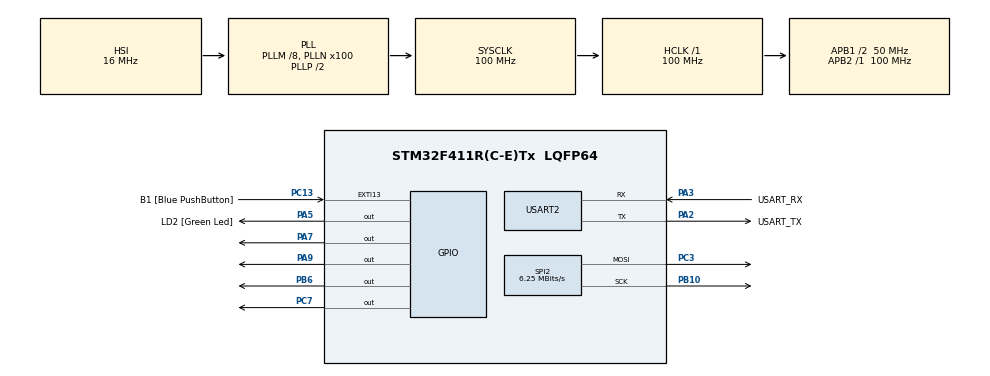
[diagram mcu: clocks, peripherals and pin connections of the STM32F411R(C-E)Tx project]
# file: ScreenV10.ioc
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Mcu.Family=STM32F4
Mcu.Name=STM32F411R(C-E)Tx
Mcu.Package=LQFP64
NVIC.PriorityGroup=NVIC_PRIORITYGROUP_0
NVIC.TIM1_TRG_COM_TIM11_IRQn=true\:0\:0\:false\:false\:true\:true\:true\:true
PA13.GPIO_Label=TMS
PA13.Mode=Serial_Wire
PA13.Signal=SYS_JTMS-SWDIO
PA14.GPIO_Label=TCK
PA14.Mode=Serial_Wire
PA14.Signal=SYS_JTCK-SWCLK
PA2.GPIO_Label=USART_TX
PA2.Mode=Asynchronous
PA2.Signal=USART2_TX
PA3.GPIO_Label=USART_RX
PA3.Mode=Asynchronous
PA3.Signal=USART2_RX
PA5.GPIO_Label=LD2 [Green Led]
PA5.Signal=GPIO_Output
PA7.Signal=GPIO_Output
PA9.Signal=GPIO_Output
PB10.Mode=TX_Only_Simplex_Unidirect_Master
PB10.Signal=SPI2_SCK
PB3.GPIO_Label=SWO
PB3.Signal=SYS_JTDO-SWO
PB6.Signal=GPIO_Output
PC13-ANTI_TAMP.GPIO_Label=B1 [Blue PushButton]
PC13-ANTI_TAMP.GPIO_ModeDefaultEXTI=GPIO_MODE_IT_FALLING
PC13-ANTI_TAMP.Signal=GPXTI13
PC14-OSC32_IN.Mode=LSE-External-Oscillator
PC14-OSC32_IN.Signal=RCC_OSC32_IN
PC15-OSC32_OUT.Mode=LSE-External-Oscillator
PC15-OSC32_OUT.Signal=RCC_OSC32_OUT
PC3.Mode=TX_Only_Simplex_Unidirect_Master
PC3.Signal=SPI2_MOSI
PC7.Signal=GPIO_Output
PH0\ -\ OSC_IN.Mode=HSE-External-Clock-Source
PH0\ -\ OSC_IN.Signal=RCC_OSC_IN
PH1\ -\ OSC_OUT.Mode=HSE-External-Clock-Source
PH1\ -\ OSC_OUT.Signal=RCC_OSC_OUT
ProjectManager.HeapSize=0x200
ProjectManager.StackSize=0x400
ProjectManager.TargetToolchain=STM32CubeIDE
RCC.48MHZClocksFreq_Value=50000000
RCC.AHBFreq_Value=100000000
RCC.APB1CLKDivider=RCC_HCLK_DIV2
RCC.APB1Freq_Value=50000000
RCC.APB1TimFreq_Value=100000000
RCC.APB2Freq_Value=100000000
RCC.APB2TimFreq_Value=100000000
RCC.CortexFreq_Value=100000000
RCC.FLatency-AdvancedSettings=FLASH_LATENCY_3
RCC.HCLKFreq_Value=100000000
RCC.HSE_VALUE=8000000
RCC.HSI_VALUE=16000000
RCC.PLLM=8
RCC.PLLN=100
RCC.SYSCLKFreq_VALUE=100000000
RCC.SYSCLKSource=RCC_SYSCLKSOURCE_PLLCLK
RCC.VCOOutputFreq_Value=200000000
SPI2.BaudRatePrescaler=SPI_BAUDRATEPRESCALER_8
SPI2.CalculateBaudRate=6.25 MBits/s
SPI2.Direction=SPI_DIRECTION_2LINES
SPI2.Mode=SPI_MODE_MASTER
SPI2.VirtualType=VM_MASTER
TIM11.Prescaler=99
USART2.VirtualMode=VM_ASYNC
VP_TIM11_VS_ClockSourceINT.Mode=Enable_Timer
board=NUCLEO-F411RE

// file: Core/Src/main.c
/* USER CODE BEGIN Header */
/**
 ******************************************************************************
 * @file           : main.c
 * @brief          : Main program body
 ******************************************************************************
 * @attention
 *
 * Copyright (c) 2022 STMicroelectronics.
 * All rights reserved.
 *
 * This software is licensed under terms that can be found in the LICENSE file
 * in the root directory of this software component.
 * If no LICENSE file comes with this software, it is provided AS-IS.
 *
 ******************************************************************************
 */
/* USER CODE END Header */
#include "main.h"

/* USER CODE BEGIN Includes */
#include "stm32f4xx_hal.h"
#include <string.h>
#include "st7735.h"
#include "fonts.h"
#include "testimg.h"
#include <stdio.h>
/* USER CODE END Includes */

SPI_HandleTypeDef hspi2;

TIM_HandleTypeDef htim11;

UART_HandleTypeDef huart2;

/* USER CODE BEGIN PV */
uint16_t LP1 = 4000;  //Life points for player 1
uint8_t T1 = 1;		//Player turns for player 1
char C_P1[] = "MP";
uint8_t Time_init = 110;
uint8_t Time = 1;
char C_ins[] = "Battle START !!!!";
uint64_t _micro = 0;
GPIO_PinState SwitchState[2];
char C_LP1[4] = "0000";
char C_T1[] = " ";
char C_Time[3] = " ";
uint8_t size = 0;
/* USER CODE END PV */

void SystemClock_Config(void);
static void MX_GPIO_Init(void);
static void MX_USART2_UART_Init(void);
static void MX_SPI2_Init(void);
static void MX_TIM11_Init(void);
/* USER CODE BEGIN PFP */
void GUI_P1();
void logic_demo();
void test_2LCD();
uint64_t micros();
/* USER CODE END PFP */

/* USER CODE BEGIN 0 */
void init() {
	ST7735_Init();
	ST7735_FillScreen(ST7735_BLACK);
	ST7735_FillScreen1(ST7735_BLACK);
	const char ready[] = "Ready!\r\n";
	HAL_UART_Transmit(&huart2, (uint8_t*)ready, sizeof(ready)-1, HAL_MAX_DELAY);

}

void loop() {
	// Check border
	ST7735_FillScreen(ST7735_BLACK);

	for(int x = 0; x < ST7735_WIDTH; x++) {
		ST7735_DrawPixel(x, 0, ST7735_RED);
		ST7735_DrawPixel(x, ST7735_HEIGHT-1, ST7735_RED);
	}

	for(int y = 0; y < ST7735_HEIGHT; y++) {
		ST7735_DrawPixel(0, y, ST7735_RED);
		ST7735_DrawPixel(ST7735_WIDTH-1, y, ST7735_RED);
	}

	HAL_Delay(3000);

	// Check fonts
	ST7735_FillScreen(ST7735_BLACK);
	ST7735_WriteString(0, 0, "Font_7x10, red on black, lorem ipsum dolor sit amet", Font_7x10, ST7735_RED, ST7735_BLACK);
	ST7735_WriteString(0, 3*10, "Font_11x18, green, lorem ipsum", Font_11x18, ST7735_GREEN, ST7735_BLACK);
	ST7735_WriteString(0, 3*10+3*18, "Font_16x26", Font_16x26, ST7735_BLUE, ST7735_BLACK);
	HAL_Delay(2000);

	// Check colors
	ST7735_FillScreen(ST7735_BLACK);
	ST7735_WriteString(0, 0, "BLACK", Font_11x18, ST7735_WHITE, ST7735_BLACK);
	HAL_Delay(500);

	ST7735_FillScreen(ST7735_BLUE);
	ST7735_WriteString(0, 0, "BLUE", Font_11x18, ST7735_BLACK, ST7735_BLUE);
	HAL_Delay(500);

	ST7735_FillScreen(ST7735_RED);
	ST7735_WriteString(0, 0, "RED", Font_11x18, ST7735_BLACK, ST7735_RED);
	HAL_Delay(500);

	ST7735_FillScreen(ST7735_GREEN);
	ST7735_WriteString(0, 0, "GREEN", Font_11x18, ST7735_BLACK, ST7735_GREEN);
	HAL_Delay(500);

	ST7735_FillScreen(ST7735_CYAN);
	ST7735_WriteString(0, 0, "CYAN", Font_11x18, ST7735_BLACK, ST7735_CYAN);
	HAL_Delay(500);

	ST7735_FillScreen(ST7735_MAGENTA);
	ST7735_WriteString(0, 0, "MAGENTA", Font_11x18, ST7735_BLACK, ST7735_MAGENTA);
	HAL_Delay(500);

	ST7735_FillScreen(ST7735_YELLOW);
	ST7735_WriteString(0, 0, "YELLOW", Font_11x18, ST7735_BLACK, ST7735_YELLOW);
	HAL_Delay(500);

	ST7735_FillScreen(ST7735_WHITE);
	ST7735_WriteString(0, 0, "WHITE", Font_11x18, ST7735_BLACK, ST7735_WHITE);
	HAL_Delay(500);

#ifdef ST7735_IS_128X128
	// Display test image 128x128
	ST7735_DrawImage(0, 0, ST7735_WIDTH, ST7735_HEIGHT, (uint16_t*)test_img_128x128);

	/*
    // Display test image 128x128 pixel by pixel
    for(int x = 0; x < ST7735_WIDTH; x++) {
        for(int y = 0; y < ST7735_HEIGHT; y++) {
            uint16_t color565 = test_img_128x128[y][x];
            // fix endiness
            color565 = ((color565 & 0xFF00) >> 8) | ((color565 & 0xFF) << 8);
            ST7735_DrawPixel(x, y, color565);
        }
    }
	 */
	HAL_Delay(15000);
#endif // ST7735_IS_128X128

}
/* USER CODE END 0 */

int main(void)
{

  /* MCU Configuration--------------------------------------------------------*/

  /* Reset of all peripherals, Initializes the Flash interface and the Systick. */
  HAL_Init();

  /* Configure the system clock */
  SystemClock_Config();

  /* Initialize all configured peripherals */
  MX_GPIO_Init();
  MX_USART2_UART_Init();
  MX_SPI2_Init();
  MX_TIM11_Init();
  /* USER CODE BEGIN 2 */
	init();
	HAL_TIM_Base_Start_IT(&htim11);
  /* USER CODE END 2 */

  /* Infinite loop */
	while (1)
	{

    /* USER CODE BEGIN 3 */
		//loop();
		logic_demo();
		GUI_P1();
		//test_2LCD();

	}
  /* USER CODE END 3 */
}

void SystemClock_Config(void)
{
  RCC_OscInitTypeDef RCC_OscInitStruct = {0};
  RCC_ClkInitTypeDef RCC_ClkInitStruct = {0};

  /** Configure the main internal regulator output voltage
  */
  __HAL_RCC_PWR_CLK_ENABLE();
  __HAL_PWR_VOLTAGESCALING_CONFIG(PWR_REGULATOR_VOLTAGE_SCALE1);

  /** Initializes the RCC Oscillators according to the specified parameters
  * in the RCC_OscInitTypeDef structure.
  */
  RCC_OscInitStruct.OscillatorType = RCC_OSCILLATORTYPE_HSI;
  RCC_OscInitStruct.HSIState = RCC_HSI_ON;
  RCC_OscInitStruct.HSICalibrationValue = RCC_HSICALIBRATION_DEFAULT;
  RCC_OscInitStruct.PLL.PLLState = RCC_PLL_ON;
  RCC_OscInitStruct.PLL.PLLSource = RCC_PLLSOURCE_HSI;
  RCC_OscInitStruct.PLL.PLLM = 8;
  RCC_OscInitStruct.PLL.PLLN = 100;
  RCC_OscInitStruct.PLL.PLLP = RCC_PLLP_DIV2;
  RCC_OscInitStruct.PLL.PLLQ = 4;
  if (HAL_RCC_OscConfig(&RCC_OscInitStruct) != HAL_OK)
  {
    Error_Handler();
  }

  /** Initializes the CPU, AHB and APB buses clocks
  */
  RCC_ClkInitStruct.ClockType = RCC_CLOCKTYPE_HCLK|RCC_CLOCKTYPE_SYSCLK
                              |RCC_CLOCKTYPE_PCLK1|RCC_CLOCKTYPE_PCLK2;
  RCC_ClkInitStruct.SYSCLKSource = RCC_SYSCLKSOURCE_PLLCLK;
  RCC_ClkInitStruct.AHBCLKDivider = RCC_SYSCLK_DIV1;
  RCC_ClkInitStruct.APB1CLKDivider = RCC_HCLK_DIV2;
  RCC_ClkInitStruct.APB2CLKDivider = RCC_HCLK_DIV1;

  if (HAL_RCC_ClockConfig(&RCC_ClkInitStruct, FLASH_LATENCY_3) != HAL_OK)
  {
    Error_Handler();
  }
}

static void MX_SPI2_Init(void)
{

  /* SPI2 parameter configuration*/
  hspi2.Instance = SPI2;
  hspi2.Init.Mode = SPI_MODE_MASTER;
  hspi2.Init.Direction = SPI_DIRECTION_2LINES;
  hspi2.Init.DataSize = SPI_DATASIZE_8BIT;
  hspi2.Init.CLKPolarity = SPI_POLARITY_LOW;
  hspi2.Init.CLKPhase = SPI_PHASE_1EDGE;
  hspi2.Init.NSS = SPI_NSS_SOFT;
  hspi2.Init.BaudRatePrescaler = SPI_BAUDRATEPRESCALER_8;
  hspi2.Init.FirstBit = SPI_FIRSTBIT_MSB;
  hspi2.Init.TIMode = SPI_TIMODE_DISABLE;
  hspi2.Init.CRCCalculation = SPI_CRCCALCULATION_DISABLE;
  hspi2.Init.CRCPolynomial = 10;
  if (HAL_SPI_Init(&hspi2) != HAL_OK)
  {
    Error_Handler();
  }

}

static void MX_TIM11_Init(void)
{

  htim11.Instance = TIM11;
  htim11.Init.Prescaler = 99;
  htim11.Init.CounterMode = TIM_COUNTERMODE_UP;
  htim11.Init.Period = 65535;
  htim11.Init.ClockDivision = TIM_CLOCKDIVISION_DIV1;
  htim11.Init.AutoReloadPreload = TIM_AUTORELOAD_PRELOAD_DISABLE;
  if (HAL_TIM_Base_Init(&htim11) != HAL_OK)
  {
    Error_Handler();
  }

}

static void MX_USART2_UART_Init(void)
{

  huart2.Instance = USART2;
  huart2.Init.BaudRate = 115200;
  huart2.Init.WordLength = UART_WORDLENGTH_8B;
  huart2.Init.StopBits = UART_STOPBITS_1;
  huart2.Init.Parity = UART_PARITY_NONE;
  huart2.Init.Mode = UART_MODE_TX_RX;
  huart2.Init.HwFlowCtl = UART_HWCONTROL_NONE;
  huart2.Init.OverSampling = UART_OVERSAMPLING_16;
  if (HAL_UART_Init(&huart2) != HAL_OK)
  {
    Error_Handler();
  }

}

static void MX_GPIO_Init(void)
{
  GPIO_InitTypeDef GPIO_InitStruct = {0};

  /* GPIO Ports Clock Enable */
  __HAL_RCC_GPIOC_CLK_ENABLE();
  __HAL_RCC_GPIOH_CLK_ENABLE();
  __HAL_RCC_GPIOA_CLK_ENABLE();
  __HAL_RCC_GPIOB_CLK_ENABLE();

  /*Configure GPIO pin Output Level */
  HAL_GPIO_WritePin(GPIOA, LD2_Pin|GPIO_PIN_7|GPIO_PIN_9, GPIO_PIN_RESET);

  /*Configure GPIO pin Output Level */
  HAL_GPIO_WritePin(GPIOC, GPIO_PIN_7, GPIO_PIN_RESET);

  /*Configure GPIO pin Output Level */
  HAL_GPIO_WritePin(GPIOB, GPIO_PIN_6, GPIO_PIN_RESET);

  /*Configure GPIO pin : B1_Pin */
  GPIO_InitStruct.Pin = B1_Pin;
  GPIO_InitStruct.Mode = GPIO_MODE_IT_FALLING;
  GPIO_InitStruct.Pull = GPIO_NOPULL;
  HAL_GPIO_Init(B1_GPIO_Port, &GPIO_InitStruct);

  /*Configure GPIO pins : LD2_Pin PA7 PA9 */
  GPIO_InitStruct.Pin = LD2_Pin|GPIO_PIN_7|GPIO_PIN_9;
  GPIO_InitStruct.Mode = GPIO_MODE_OUTPUT_PP;
  GPIO_InitStruct.Pull = GPIO_NOPULL;
  GPIO_InitStruct.Speed = GPIO_SPEED_FREQ_LOW;
  HAL_GPIO_Init(GPIOA, &GPIO_InitStruct);

  /*Configure GPIO pin : PC7 */
  GPIO_InitStruct.Pin = GPIO_PIN_7;
  GPIO_InitStruct.Mode = GPIO_MODE_OUTPUT_PP;
  GPIO_InitStruct.Pull = GPIO_NOPULL;
  GPIO_InitStruct.Speed = GPIO_SPEED_FREQ_LOW;
  HAL_GPIO_Init(GPIOC, &GPIO_InitStruct);

  /*Configure GPIO pin : PB6 */
  GPIO_InitStruct.Pin = GPIO_PIN_6;
  GPIO_InitStruct.Mode = GPIO_MODE_OUTPUT_PP;
  GPIO_InitStruct.Pull = GPIO_NOPULL;
  GPIO_InitStruct.Speed = GPIO_SPEED_FREQ_LOW;
  HAL_GPIO_Init(GPIOB, &GPIO_InitStruct);

}

/* USER CODE BEGIN 4 */
void GUI_P1(){  	// Show information in each players :
	// Player Number , Life points , Turns , Phase , Timer , instructions

	ST7735_WriteString(5, 5, "Player 1: ", Font_7x10, ST7735_WHITE, ST7735_BLACK);

	ST7735_WriteString(5, 20, "Life points: ", Font_7x10, ST7735_WHITE, ST7735_BLACK);
	sprintf(C_LP1, "%d", LP1);
	ST7735_WriteString( 90, 20, C_LP1, Font_7x10, ST7735_WHITE, ST7735_BLACK);

	ST7735_WriteString(5, 35, "Turns: ", Font_7x10, ST7735_WHITE, ST7735_BLACK);
	sprintf(C_T1, "%d", T1);
	ST7735_WriteString( 50, 35, C_T1, Font_7x10, ST7735_WHITE, ST7735_BLACK);

	ST7735_WriteString(60, 35, "|Phase: ", Font_7x10, ST7735_WHITE, ST7735_BLACK);
	ST7735_WriteString( 110, 35, C_P1, Font_7x10, ST7735_WHITE, ST7735_BLACK);

	ST7735_WriteString(0, 50, "Remaining time: ", Font_7x10, ST7735_WHITE, ST7735_BLACK);
	sprintf(C_Time, "%d", Time);
	for (int i = 0 ; i < 3 ; i++){
		if(C_Time[i] == 0){
			C_Time[i] = 'S';
			C_Time[i+1] = '.';
		}
	}
	ST7735_WriteString( 105, 50, C_Time, Font_7x10, ST7735_WHITE, ST7735_BLACK);

	ST7735_WriteString(0, 60, "__________________", Font_7x10, ST7735_WHITE, ST7735_BLACK);

	ST7735_WriteString(5, 90, C_ins, Font_7x10, ST7735_WHITE, ST7735_BLACK);

}
void test_2LCD(){
	ST7735_FillScreen(ST7735_BLACK);
	ST7735_FillScreen1(ST7735_BLACK);
//	ST7735_WriteString(50, 50, "4", Font_16x26, ST7735_BLUE, ST7735_BLACK);
//	ST7735_FillScreen1(ST7735_BLACK);
//	HAL_Delay(1000);
//
//	ST7735_FillScreen(ST7735_BLACK);
//
//	ST7735_WriteString1(50, 50, "3 ", Font_16x26, ST7735_WHITE, ST7735_BLACK);
//	HAL_Delay(1000);
//
//	ST7735_FillScreen1(ST7735_BLACK);
//
//	ST7735_WriteString(50, 50, "2 ", Font_16x26, ST7735_GREEN, ST7735_BLACK);
//	HAL_Delay(1000);
//	ST7735_FillScreen(ST7735_BLACK);
//	ST7735_WriteString1(50, 50, "1 ", Font_16x26, ST7735_RED, ST7735_BLACK);
//	HAL_Delay(1000);
//	ST7735_FillScreen1(ST7735_BLACK);
//	ST7735_FillScreen(ST7735_BLACK);
//	ST7735_WriteString(10, 20, "Happy", Font_16x26, ST7735_MAGENTA, ST7735_BLACK);
//	HAL_Delay(500);
//	ST7735_WriteString1(10, 20, "new", Font_16x26, ST7735_YELLOW, ST7735_BLACK);
//	HAL_Delay(500);
//	ST7735_WriteString(10, 50, "year", Font_16x26, ST7735_CYAN, ST7735_BLACK);
//	HAL_Delay(500);
//	ST7735_WriteString1(10, 50, "2", Font_16x26, ST7735_GREEN, ST7735_BLACK);
//	HAL_Delay(250);
//	ST7735_WriteString1(30, 50, "0", Font_16x26, ST7735_GREEN, ST7735_BLACK);
//	HAL_Delay(250);
//	ST7735_WriteString1(50, 50, "2", Font_16x26, ST7735_GREEN, ST7735_BLACK);
//	HAL_Delay(250);
//	ST7735_WriteString1(70, 50, "3", Font_16x26, ST7735_GREEN, ST7735_BLACK);
//	HAL_Delay(500);
//	ST7735_WriteString1(75, 90, "Dev By", Font_7x10, ST7735_WHITE, ST7735_BLACK);
//	ST7735_WriteString1(75, 105, "TinnZx", Font_7x10, ST7735_WHITE, ST7735_BLACK);
	HAL_Delay(3000);
}

void logic_demo(){

	HAL_GPIO_TogglePin(LD2_GPIO_Port, LD2_Pin);
	Time = Time_init - _micro/1000000;
	if (Time == 0){
		HAL_TIM_Base_Stop_IT(&htim11);
		Time = 0;
		//C_ins[] = "Game Over";

	}
	SwitchState[0] = HAL_GPIO_ReadPin(B1_GPIO_Port, B1_Pin);
	if (SwitchState[1] == GPIO_PIN_SET
			&& SwitchState[0] == GPIO_PIN_RESET)
	{
		T1++;
		LP1 = LP1 - 100;
	}
	SwitchState[1] = SwitchState[0];

}

void HAL_TIM_PeriodElapsedCallback(TIM_HandleTypeDef *htim) {
	if (htim == &htim11) {
		_micro += 65535;
	}
}

uint64_t micros() {
	return _micro + htim11.Instance->CNT;
}
/* USER CODE END 4 */

void Error_Handler(void)
{
	__disable_irq();
	while (1)
	{
	}
}
